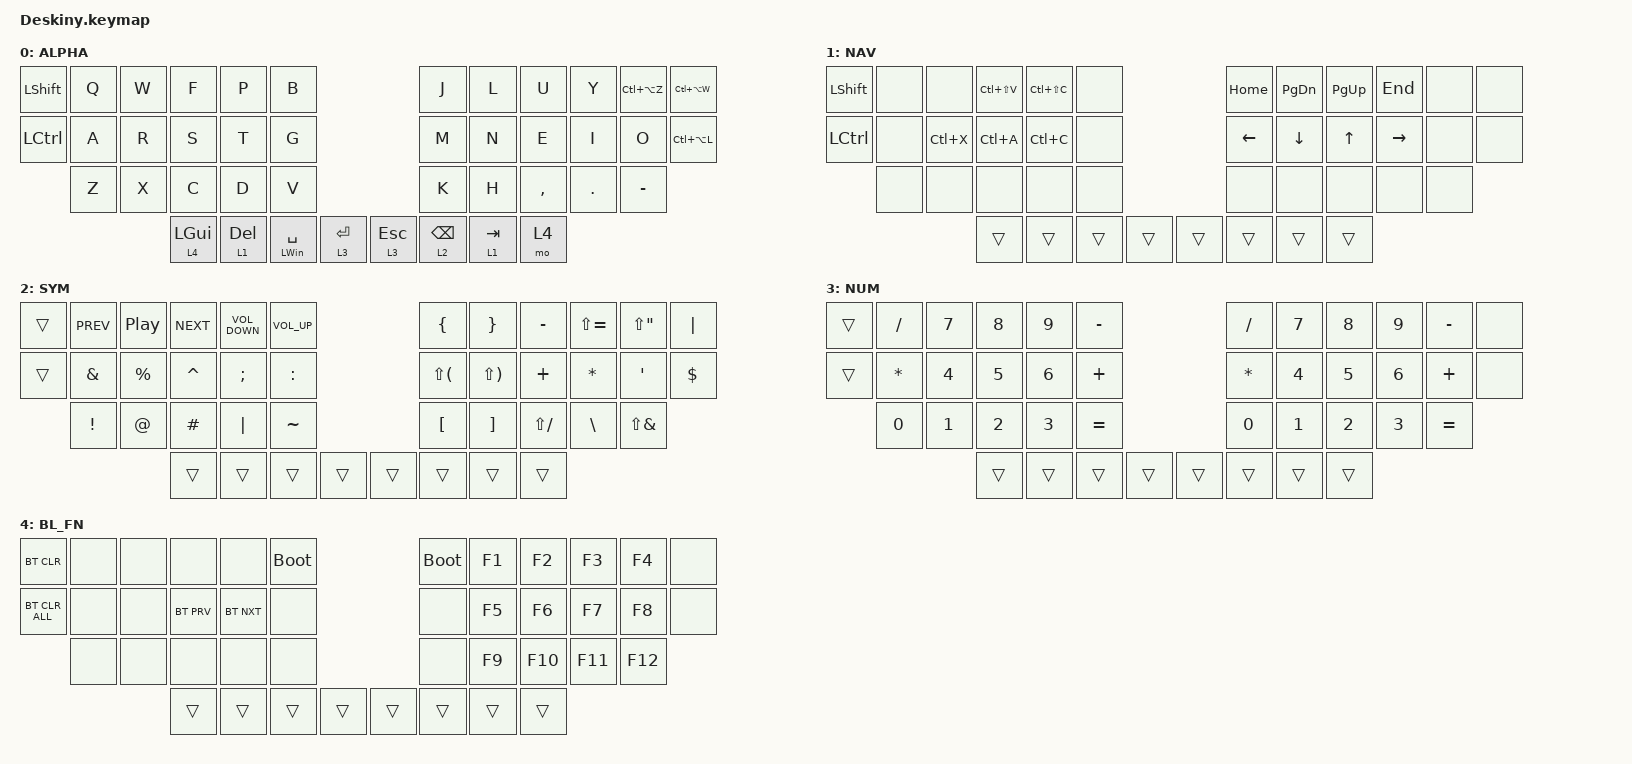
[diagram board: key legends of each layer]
#include <behaviors.dtsi>
#include <dt-bindings/zmk/bt.h>
#include <dt-bindings/zmk/keys.h>

/ {
    keymap {
        compatible = "zmk,keymap";

        ALPHA {
            bindings = <
&kp LSHFT         &kp Q  &kp W  &kp F           &kp P         &kp B                                       &kp J            &kp L      &kp U      &kp Y    &kp LC(LA(Z))  &kp LC(LA(W))
&kp LEFT_CONTROL  &kp A  &kp R  &kp S           &kp T         &kp G                                       &kp M            &kp N      &kp E      &kp I    &kp O          &kp LC(LA(L))
                  &kp Z  &kp X  &kp C           &kp D         &kp V                                       &kp K            &kp H      &kp COMMA  &kp DOT  &kp MINUS
                                &lt 4 LEFT_GUI  &lt 1 DELETE  &mt LEFT_WIN SPACE  &lt 3 ENTER  &lt 3 ESC  &lt 2 BACKSPACE  &lt 1 TAB  &mo 4
            >;
        };

        NAV {
            bindings = <
&kp LSHFT  &none  &none      &kp LC(LS(V))  &kp LC(LS(C))  &none                   &kp HOME  &kp PAGE_DOWN  &kp PG_UP  &kp END    &none  &none
&kp LCTRL  &none  &kp LC(X)  &kp LC(A)      &kp LC(C)      &none                   &kp LEFT  &kp DOWN       &kp UP     &kp RIGHT  &none  &none
           &none  &none      &none          &none          &none                   &none     &none          &none      &none      &none
                             &trans         &trans         &trans  &trans  &trans  &trans    &trans         &trans
            >;
        };

        SYM {
            bindings = <
&trans  &kp C_PREV       &kp C_PLAY_PAUSE  &kp C_NEXT  &kp C_VOLUME_DOWN  &kp C_VOLUME_UP                  &kp LBRC      &kp RBRC      &kp MINUS     &kp LS(EQUAL)  &kp LS(DQT)   &kp PIPE
&trans  &kp AMPERSAND    &kp PERCENT       &kp CARET   &kp SEMICOLON      &kp COLON                        &kp LS(LPAR)  &kp LS(RPAR)  &kp PLUS      &kp STAR       &kp SQT       &kp DOLLAR
        &kp EXCLAMATION  &kp AT_SIGN       &kp HASH    &kp PIPE           &kp TILDE                        &kp LBKT      &kp RBKT      &kp LS(FSLH)  &kp BSLH       &kp LS(AMPS)
                                           &trans      &trans             &trans           &trans  &trans  &trans        &trans        &trans
            >;
        };

        NUM {
            bindings = <
&trans  &kp FSLH  &kp N7  &kp N8  &kp N9  &kp MINUS                  &kp FSLH  &kp N7  &kp N8  &kp N9  &kp MINUS  &none
&trans  &kp STAR  &kp N4  &kp N5  &kp N6  &kp PLUS                   &kp STAR  &kp N4  &kp N5  &kp N6  &kp PLUS   &none
        &kp N0    &kp N1  &kp N2  &kp N3  &kp EQUAL                  &kp N0    &kp N1  &kp N2  &kp N3  &kp EQUAL
                          &trans  &trans  &trans     &trans  &trans  &trans    &trans  &trans
            >;
        };

        BL_FN {
            bindings = <
&bt BT_CLR      &none  &none  &none       &none       &bootloader                  &bootloader  &kp F1  &kp F2   &kp F3   &kp F4   &none
&bt BT_CLR_ALL  &none  &none  &bt BT_PRV  &bt BT_NXT  &none                        &none        &kp F5  &kp F6   &kp F7   &kp F8   &none
                &none  &none  &none       &none       &none                        &none        &kp F9  &kp F10  &kp F11  &kp F12
                              &trans      &trans      &trans       &trans  &trans  &trans       &trans  &trans
            >;
        };
    };
};
